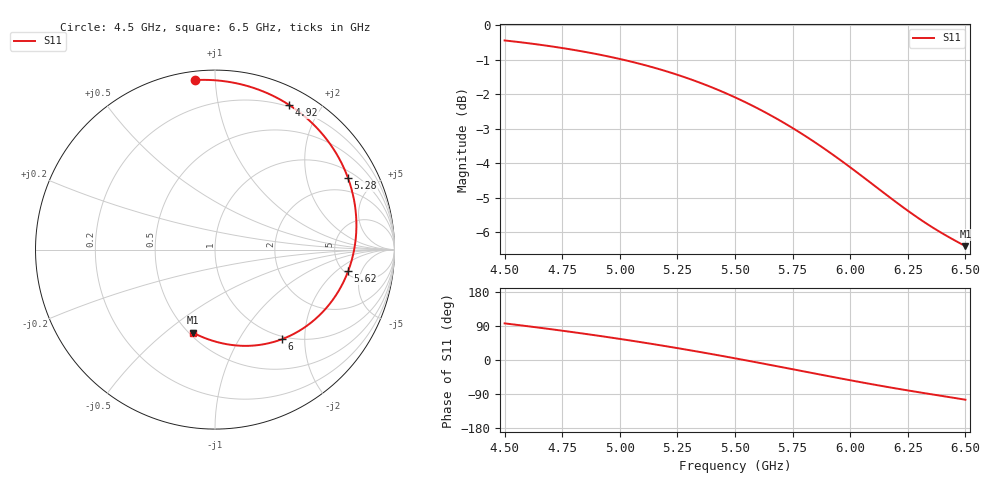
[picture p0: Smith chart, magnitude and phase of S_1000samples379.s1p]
! TOUCHSTONE file generated by CST MICROWAVE STUDIO
! Date and time: Thu Oct 27 23:22:07 2022
! Project name: L.cst
! Parameters = {Di=1.27; Epsilon_r=1.56; InnerDiameter=1.27; Length=2; Lf=10; Lg=60; OuterConductorThickness=0.2921; OuterDiameter=3.6; Wf=3; Wp=41.2; de=1.5; df=6.8; g=0.8; gx=4.75449; gy=4.6227; h=2.34; hf=1.524; px=14.2216; py=12.4409; w=9.7; wx=9.4671; wy=7.81824}
! Header version: 2018
! Port assignment regex: !\s*Touchstone port\s*([0-9]+)\s*=\s*(CST MWS port|CST DS port)\s*([0-9]+|Zmin|Zmax)\s*\(\"(.*)\"\)(\s*mode\s*([0-9]+))?.*
! Touchstone port assignment:
! Touchstone port 1 = CST MWS port 1 ("")
# GHz S DB R 50
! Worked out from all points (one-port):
!   101 points, 4.5 GHz to 6.5 GHz, reference 50 ohm
!   lowest |S11| = -6.4 dB at 6.5 GHz (marker M1), VSWR 2.84, Z = 26.2 - j31.4 ohm
!   |S11| at or under -10 dB: nowhere
!   S11 on the Smith chart (normalised r, x): 4.5 GHz: 0.05, +0.89; 4.92 GHz: 0.18, +1.62; 5.28 GHz: 1.29, +3.53; 5.62 GHz: 5.36, -2.97; 6 GHz: 0.95, -1.55; 6.5 GHz: 0.52, -0.63
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4.5  -0.44 96.6
4.64  -0.55 86.1
4.76  -0.67 76.5
4.84  -0.76 69.8
4.92  -0.86 62.9
5  -0.97 55.6
5.06  -1.07 50.1
5.14  -1.21 42.4
5.2  -1.33 36.4
5.26  -1.45 30.3
5.28  -1.50 28.2
5.34  -1.64 21.9
5.4  -1.80 15.5
5.5  -2.09 4.4
5.56  -2.28 -2.3
5.62  -2.48 -9.2
5.68  -2.70 -16.2
5.76  -3.02 -25.5
5.82  -3.27 -32.6
5.88  -3.54 -39.6
5.94  -3.82 -46.5
6  -4.11 -53.4
6.06  -4.42 -60.1
6.12  -4.72 -66.7
6.18  -5.03 -73.1
6.26  -5.42 -81.3
6.38  -5.95 -93.1
6.5  -6.40 -104.8
